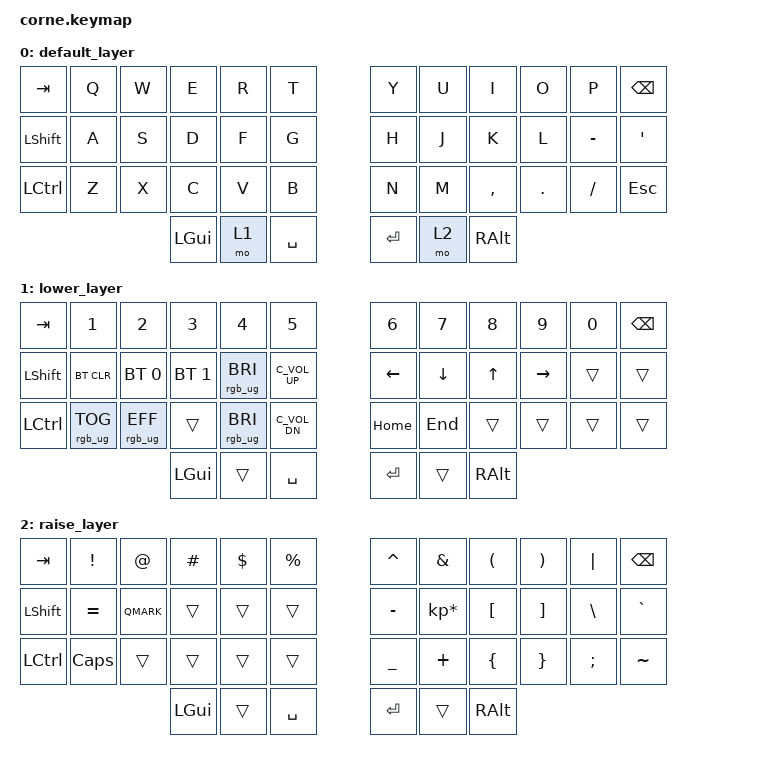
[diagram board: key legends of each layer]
/*
 * Copyright (c) 2020 The ZMK Contributors
 *
 * SPDX-License-Identifier: MIT
 */

#include <behaviors.dtsi>
#include <dt-bindings/zmk/keys.h>
#include <dt-bindings/zmk/bt.h>
#include <dt-bindings/zmk/rgb.h>

/ {
        keymap {
                compatible = "zmk,keymap";

                default_layer {
// -----------------------------------------------------------------------------------------
// |  TAB |  Q  |  W  |  E  |  R  |  T  |   |  Y  |  U   |  I  |  O  |  P  | BKSP |
// | SHFT |  A  |  S  |  D  |  F  |  G  |   |  H  |  J   |  K  |  L  |  -  |   '  |
// | CTRL |  Z  |  X  |  C  |  V  |  B  |   |  N  |  M   |  ,  |  .  |  ;  | ESC  |
//                    | GUI | LWR | SPC |   | ENT | RSE  | ALT |
                        bindings = <
   &kp TAB   &kp Q &kp W &kp E  &kp R &kp T       &kp Y   &kp U &kp I     &kp O   &kp P     &kp BSPC
   &kp LSHFT &kp A &kp S &kp D  &kp F &kp G       &kp H   &kp J &kp K     &kp L   &kp MINUS &kp SQT 
   &kp LCTRL &kp Z &kp X &kp C  &kp V &kp B       &kp N   &kp M &kp COMMA &kp DOT &kp FSLH  &kp ESC
                       &kp LGUI &mo 1 &kp SPACE   &kp RET &mo 2 &kp RALT
                        >;
                };
                lower_layer {
// -----------------------------------------------------------------------------------------
// |  TAB |  1      |  2      |  3      |  4      |  5  |     |  6  |  7  |  8  |  9  |  0   | BKSP |
// | SHFT | BTCLR   | BT1     | BT2     | RGB_BRI | VOL+|     | LFT | DWN |  UP | RGT |      |      |
// | CTRL | RGB_TOG | RGB_EFF |         | RGB_BRD | VOL-|     | HOME| END |     |     |      |      |
//                            | GUI     |         | SPC |     | ENT |     | ALT |
                        bindings = <
   &kp TAB   &kp N1          &kp N2          &kp N3       &kp N4            &kp N5    &kp N6   &kp N7   &kp N8 &kp N9    &kp N0 &kp BSPC
   &kp LSHFT &bt BT_CLR      &bt BT_SEL 0    &bt BT_SEL 1 &rgb_ug RGB_BRI   &C_VOL_UP &kp LEFT &kp DOWN &kp UP &kp RIGHT &trans &trans
   &kp LCTRL &rgb_ug RGB_TOG &rgb_ug RGB_EFF &trans       &rgb_ug RGB_BRI   &C_VOL_DN &kp HOME &kp END  &trans &trans    &trans &trans
                             &kp LGUI        &trans       &kp SPACE         &kp RET   &trans   &kp RALT
                        >;
                };

                raise_layer {
// -----------------------------------------------------------------------------------------
// |  TAB |  !  |  @  |  #  |  $  |  %  |   |  ^  |  &  |  (  |  )  |  "|" | BKSP |
// | SHFT |  =  |  ?  |     |     |     |   |  -  |  *  |  [  |  ]  |  \   |  `   |
// | CTRL | CAPS|     |     |     |     |   |  _  |  +  |  {  |  }  |  /   |  ~   |
//                    | GUI |     | SPC |   | ENT |     | ALT |
                        bindings = <
   &kp  TAB  &kp EXCL  &kp AT &kp HASH &kp DLLR &kp PRCNT   &kp CARET &kp AMPS        &kp LPAR &kp RPAR &kp PIPE &kp BSPC
   &kp LSHFT &kp EQUAL &QMARK &trans   &trans   &trans      &kp MINUS &kp KP_MULTIPLY &kp LBKT &kp RBKT &kp BSLH &kp GRAVE
   &kp LCTRL &kp CAPS  &trans &trans   &trans   &trans      &kp UNDER &kp PLUS        &kp LBRC &kp RBRC &kp SEMI &kp TILDE
                              &kp LGUI &trans   &kp SPACE   &kp RET   &trans          &kp RALT
                        >;
                };
        };
};
